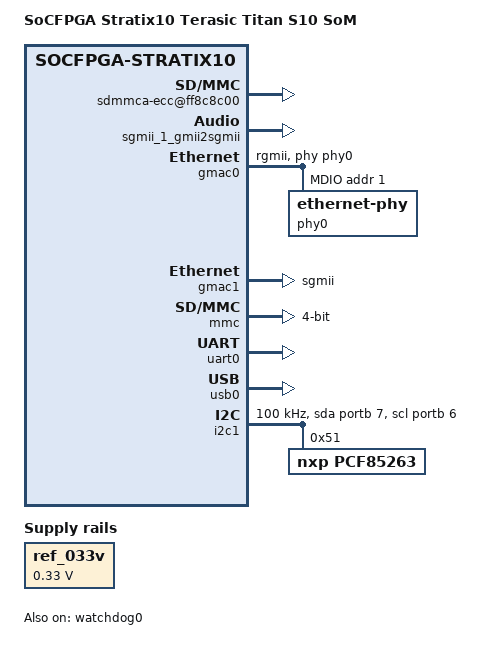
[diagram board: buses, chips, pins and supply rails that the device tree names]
// SPDX-License-Identifier: GPL-2.0-only
/*
 * Copyright Altera Corporation (C) 2015. All rights reserved.
 */

#include "socfpga_stratix10.dtsi"

/ {
	model = "SoCFPGA Stratix10 Terasic Titan S10 SoM";
	compatible = "altr,socfpga-stratix10-socdk", "altr,socfpga-stratix10";

	aliases {
		serial0 = &uart0;
		ethernet0 = &gmac0;
		ethernet1 = &gmac1;
		ethernet2 = &gmac2;
	};

	chosen {
		stdout-path = "serial0:115200n8";
	};


	memory@80000000 {
		device_type = "memory";
		/* We expect the bootloader to fill in the reg */
		reg = <0 0x80000000 0 0>;
	};

	ref_033v: regulator-v-ref {
		compatible = "regulator-fixed";
		regulator-name = "0.33V";
		regulator-min-microvolt = <330000>;
		regulator-max-microvolt = <330000>;
	};

	soc {
		eccmgr {
			sdmmca-ecc@ff8c8c00 {
				compatible = "altr,socfpga-s10-sdmmc-ecc",
					     "altr,socfpga-sdmmc-ecc";
				reg = <0xff8c8c00 0x100>;
				altr,ecc-parent = <&mmc>;
				interrupts = <14 4>,
					     <15 4>;
			};
		};
		
		// add for emacb test
		ilc@f9001100 {
			compatible = "altr,ilc-1.0";
			reg = <0xf9001100 0x00000100>;
			interrupt-parent = <0x00000005>;
			interrupts = <0x00000000 0x00000011 0x00000004 0x00000000 0x00000012 0x00000004>;
			status = "disabled";
			altr,sw-fifo-depth = <32>;
		};
		
		clocks {
			sgmii_1_clk_0: sgmii_1_clk_0 {
				compatible = "fixed-clock";
				#clock-cells = <0>;
				clock-frequency = <125000000>;	/* 125.00 MHz */
				clock-output-names = "sgmii_1_clk_0-out_clk";
			}; //end sgmii_1_clk_0 (sgmii_1_clk_0)

			sgmii_1_clk_125: sgmii_1_clk_125 {
				compatible = "fixed-clock";
				#clock-cells = <0>;
				clock-frequency = <125000000>;	/* 125.00 MHz */
				clock-output-names = "sgmii_1_clk_125-out_clk";
			}; //end sgmii_1_clk_125 (sgmii_1_clk_125)
		};
		
		s10_hps_bridges: bridge@80000000 {
			compatible = "altr,bridge-18.1","simple-bus";
			reg = <0x80000000 0x60000000>,
				<0xf9000000 0x00100000>;
			reg-names = "axi_h2f", "axi_h2f_lw";
			#address-cells = <0x2>;
			#size-cells = <0x1>;
			ranges =<0x00000001 0x00003000 0xf9003000 0x00000040>,
				<0x00000001 0x00003040 0xf9003040 0x00000008>;

			sgmii_1_gmii2sgmii: sgmii1@0x100003000 {
				compatible = "altr,gmii-to-sgmii-2.0";
				reg = <0x00000001 0x00003000 0x00000040>,
				      <0x00000001 0x00003040 0x00000008>;
				reg-names = "eth_tse_control_port", "gmii_to_sgmii_adapter_avalon_slave";
				clocks = <&sgmii_1_clk_0 &gmac1 1 &sgmii_1_clk_125 &sgmii_1_clk_125>;
				clock-names = "clock_in", "emac_gtx_clk", "tse_pcs_ref_clk_clock_connection", "tse_rx_cdr_refclk";
			};
		};
	};
};

&pinctrl0 {
	i2c1_pmx_func: i2c1-pmx-func {
		pinctrl-single,pins = <
			0x78   0x4   /* I2C1_SDA (IO6-B) PIN30SEL) */
			0x7c   0x4   /* I2C1_SCL (IO7-B) PIN31SEL */
		>;
	};

	i2c1_pmx_func_gpio: i2c1-pmx-func-gpio {
		pinctrl-single,pins = <
			0x78   0x8   /* I2C1_SDA (IO6-B) PIN30SEL) */
			0x7c   0x8   /* I2C1_SCL (IO7-B) PIN31SEL */
		>;
	};
};

&gpio1 {
	status = "okay";
};

&gmac0 {
	status = "okay";
	phy-mode = "rgmii";
	phy-handle = <&phy0>;

	max-frame-size = <9000>;

	mdio0 {
		#address-cells = <1>;
		#size-cells = <0>;
		compatible = "snps,dwmac-mdio";
		phy0: ethernet-phy@0 {
			reg = <1>;

			txd0-skew-ps = <0>; /* -420ps */
			txd1-skew-ps = <0>; /* -420ps */
			txd2-skew-ps = <0>; /* -420ps */
			txd3-skew-ps = <0>; /* -420ps */
			rxd0-skew-ps = <420>; /* 0ps */
			rxd1-skew-ps = <420>; /* 0ps */
			rxd2-skew-ps = <420>; /* 0ps */
			rxd3-skew-ps = <420>; /* 0ps */
			txen-skew-ps = <0>; /* -420ps */
			txc-skew-ps = <900>; /* 0ps */
			rxdv-skew-ps = <420>; /* 0ps */
			rxc-skew-ps = <1680>; /* 780ps */
		};
	};
};

&gmac1 {
	altr,gmii-to-sgmii-converter = <&sgmii_1_gmii2sgmii>;
	phy-mode = "sgmii";
	status = "okay";
};

&mmc {
	status = "okay";
	cap-sd-highspeed;
	cap-mmc-highspeed;
	broken-cd;
	bus-width = <4>;
	clk-phase-sd-hs = <0>, <135>;
};

&osc1 {
	clock-frequency = <25000000>;
};

&uart0 {
	status = "okay";
};

&usb0 {
	status = "okay";
	disable-over-current;
};

&watchdog0 {
	status = "okay";
};

&i2c1 {
	status = "okay";
	clock-frequency = <100000>;
	i2c-sda-falling-time-ns = <890>;  /* hcnt */
	i2c-scl-falling-time-ns = <890>;  /* lcnt */

	pinctrl-names = "default", "gpio";
	pinctrl-0 = <&i2c1_pmx_func>;
	pinctrl-1 = <&i2c1_pmx_func_gpio>;

	scl-gpios = <&portb 6 (GPIO_ACTIVE_HIGH | GPIO_OPEN_DRAIN)>;
	sda-gpios = <&portb 7 (GPIO_ACTIVE_HIGH | GPIO_OPEN_DRAIN)>;
	
	/*
     * the rtc interrupt is tied to PMIC_PWRON,
     * it will force reset the board if triggered.
     */
    pcf85263: rtc@51 {
        compatible = "nxp,pcf85263";
        reg = <0x51>;
    };   

};

&qspi {
	status = "disabled";
	flash@0 {
		#address-cells = <1>;
		#size-cells = <1>;
		compatible = "micron,mt25qu02g", "jedec,spi-nor";
		reg = <0>;
		spi-max-frequency = <100000000>;

		m25p,fast-read;
		cdns,page-size = <256>;
		cdns,block-size = <16>;
		cdns,read-delay = <1>;
		cdns,tshsl-ns = <50>;
		cdns,tsd2d-ns = <50>;
		cdns,tchsh-ns = <4>;
		cdns,tslch-ns = <4>;

		partitions {
			compatible = "fixed-partitions";
			#address-cells = <1>;
			#size-cells = <1>;
			rsu-handle = <&qspi_boot>;

			qspi_boot: partition@0 {
				label = "u-boot";
				reg = <0x0 0x04200000>;
			};

			root: partition@4200000  {
				label = "root";
				reg = <0x04200000 0x0BE00000>;
			};
		};
	};
};

&temp_volt {
	voltage {
		#address-cells = <1>;
		#size-cells = <0>;
		input@2 {
			label = "0.8V VCC";
			reg = <2>;
		};

		input@3 {
			label = "1.0V VCCIO";
			reg = <3>;
		};

		input@6 {
			label = "0.9V VCCERAM";
			reg = <6>;
		};
	};

	temperature {
		#address-cells = <1>;
		#size-cells = <0>;

		input@0 {
			label = "Main Die SDM";
			reg = <0x0>;
		};
	};
};

